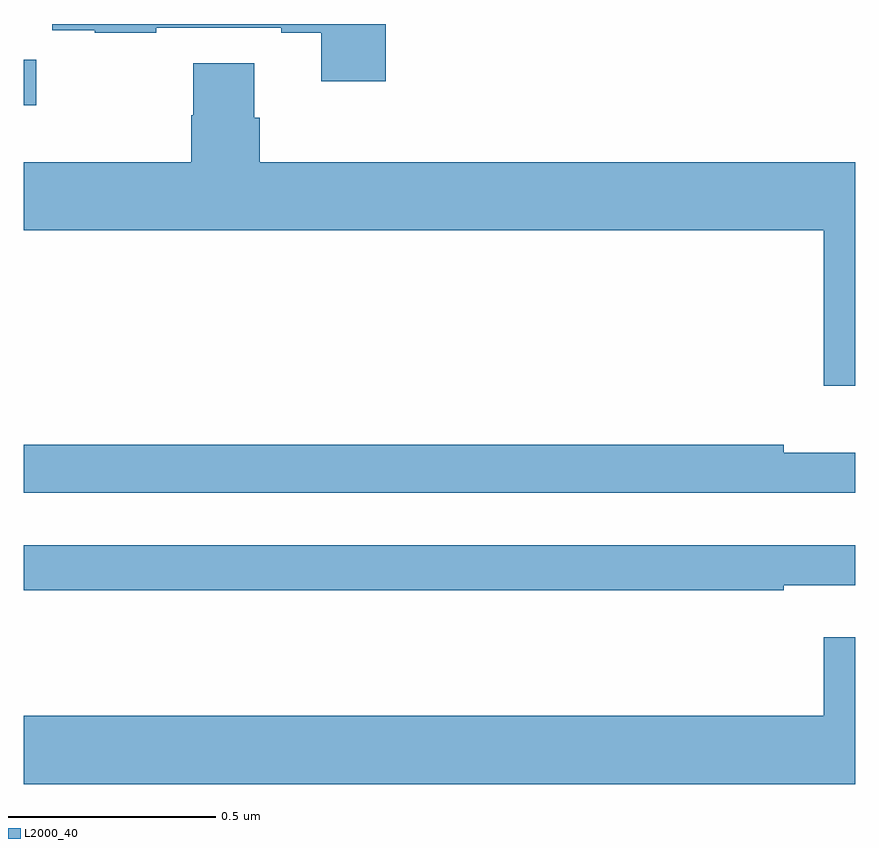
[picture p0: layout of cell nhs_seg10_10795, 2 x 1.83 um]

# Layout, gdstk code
import gdstk
lib = gdstk.Library(unit=1e-6, precision=1e-09)
def R(c, l, rs):  # rectangles x0, y0, x1, y1
    for r in rs: c.add(gdstk.rectangle(r[:2], r[2:], *l))
def P(c, l, *ps):  # polygons
    for p in ps: c.add(gdstk.Polygon(p, *l))
L2000_40 = (2000, 40)

nhs_seg10_10795 = lib.new_cell('nhs_seg10_10795')
R(nhs_seg10_10795, L2000_40, [(247,1279.304,247.03,1279.414)])
P(nhs_seg10_10795, L2000_40, [(247.871,1279.5),(247.069,1279.5),(247.069,1279.485),(247.171,1279.485),(247.171,1279.479),(247.319,1279.479),(247.319,1279.491),(247.619,1279.491),(247.619,1279.479),(247.715,1279.479),(247.715,1279.362),(247.871,1279.362)],
  [(249,1279.168),(247.568,1279.168),(247.568,1279.274),(247.555,1279.274),(247.555,1279.406),(247.408,1279.406),(247.408,1279.281),(247.403,1279.281),(247.403,1279.168),(247,1279.168),(247,1279.004),(248.924,1279.004),(248.924,1278.63),(249,1278.63)],
  [(249,1278.469),(248.828,1278.469),(248.828,1278.488),(247,1278.488),(247,1278.372),(249,1278.372)],
  [(248.828,1278.15),(249,1278.15),(249,1278.246),(247,1278.246),(247,1278.138),(248.828,1278.138)],
  [(249,1278.025),(248.924,1278.025),(248.924,1277.836),(247,1277.836),(247,1277.672),(249,1277.672)])

lib.write_gds('nhs_seg10_10795.gds')
